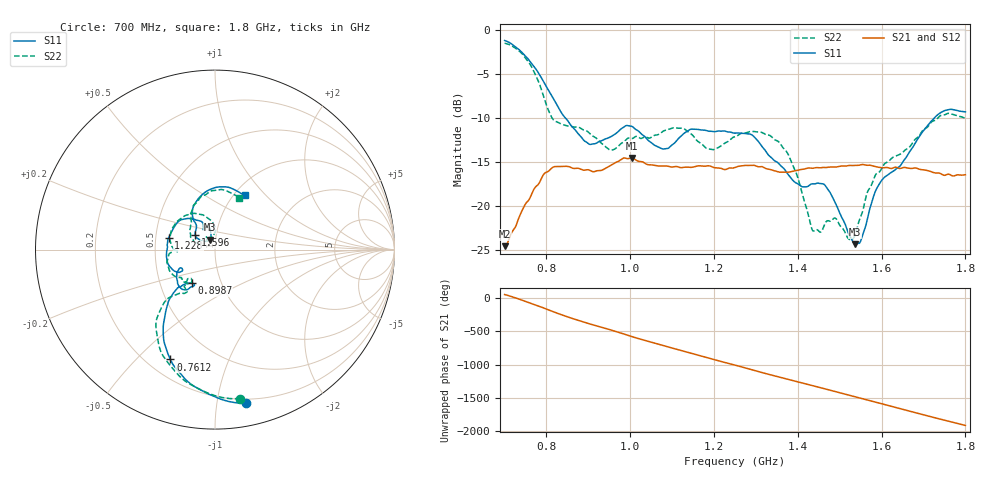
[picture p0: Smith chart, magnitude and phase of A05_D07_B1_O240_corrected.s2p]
! Created with skrf 1.9.0 (http://scikit-rf.org).
# Hz S RI R 50.0
!freq ReS11 ImS11 ReS21 ImS21 ReS12 ImS12 ReS22 ImS22
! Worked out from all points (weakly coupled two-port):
!   1601 points, 700 MHz to 1.8 GHz, reference 50 ohm
!   highest |S21| = -14.50 dB at 1.004 GHz (marker M1); lowest = -24.5 dB at 700.7 MHz (marker M2)
!   lowest |S11| = -24.3 dB at 1.536 GHz (marker M3), VSWR 1.13, Z = 47.1 + j5.21 ohm
!   |S11| at or under -10 dB: 845.6 MHz to 1.725 GHz (879.5 MHz wide, 68.4 % of centre)
!   |S22| runs from -23.8 to -1.5 dB; largest |S21 - S12| = 0.0037
!   S11 on the Smith chart (normalised r, x): 700 MHz: 0.17, -1.21; 761.2 MHz: 0.29, -0.63; 898.7 MHz: 0.72, -0.29; 1.228 GHz: 0.58, +0.08; 1.596 GHz: 0.79, +0.13; 1.8 GHz: 1.12, +0.76
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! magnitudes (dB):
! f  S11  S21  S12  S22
! 700 MHz  -1.2  -24.5  -24.3  -1.5
! 700.7 MHz  -1.2  -24.5  -24.2  -1.5
! 761.2 MHz  -3.6  -19.0  -18.9  -3.9
! 815.5 MHz  -7.7  -15.6  -15.6  -10.1
! 883.6 MHz  -12.2  -15.8  -15.7  -11.2
! 898.7 MHz  -12.8  -15.8  -15.9  -11.5
! 953 MHz  -12.1  -15.4  -15.4  -13.6
! 1.004 GHz  -10.9  -14.5  -14.6  -12.3
! 1.067 GHz  -13.3  -15.4  -15.4  -11.8
! 1.145 GHz  -11.2  -15.6  -15.6  -11.8
! 1.228 GHz  -11.5  -15.8  -15.7  -12.8
! 1.25 GHz  -11.7  -15.6  -15.5  -12.1
! 1.357 GHz  -15.3  -16.1  -16.1  -12.8
! 1.395 GHz  -17.3  -16.0  -15.9  -16.1
! 1.434 GHz  -17.4  -15.7  -15.6  -22.6
! 1.469 GHz  -17.9  -15.6  -15.6  -21.7
! 1.536 GHz  -24.3  -15.3  -15.4  -23.3
! 1.552 GHz  -23.7  -15.3  -15.3  -21.0
! 1.596 GHz  -17.4  -15.6  -15.6  -16.0
! 1.617 GHz  -16.4  -15.6  -15.6  -14.9
! 1.734 GHz  -9.6  -16.2  -16.3  -10.0
! 1.8 GHz  -9.3  -16.4  -16.4  -10.0
